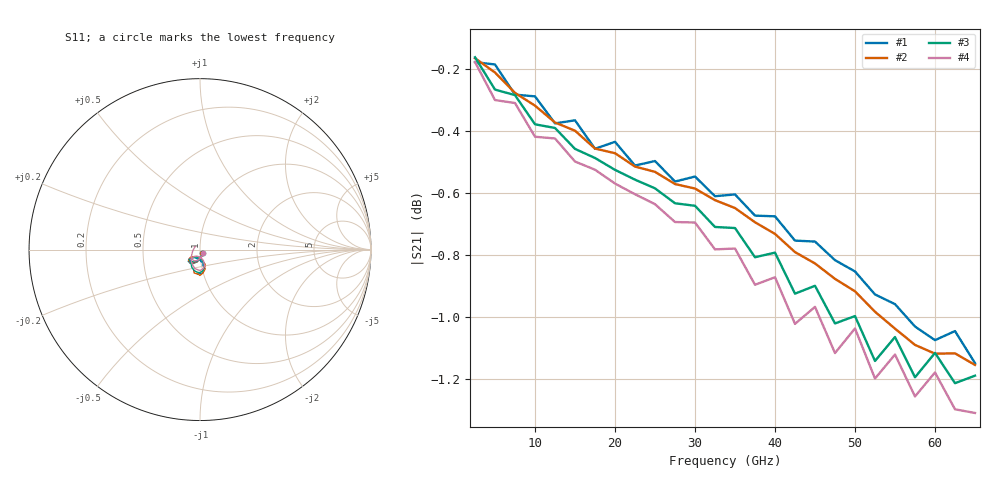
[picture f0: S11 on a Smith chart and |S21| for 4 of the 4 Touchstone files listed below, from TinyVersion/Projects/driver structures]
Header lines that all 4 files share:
! File created by SignalIntegrity v1.5.1: Signal and Power Integrity Tools
! https://github.com/Nubis-Communications/SignalIntegrity
# MHz S MA R 50.0
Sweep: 2.5 GHz to 65 GHz
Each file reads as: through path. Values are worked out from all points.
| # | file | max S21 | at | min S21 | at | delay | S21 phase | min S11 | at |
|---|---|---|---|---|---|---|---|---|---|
| 1 | Thru_lane_4.s2p | -0.18 dB | 2.5 GHz | -1.1 dB | 65 GHz | 6.94 ps | -90 deg at 35 GHz | -32.9 dB | 2.5 GHz |
| 2 | Thru_lane_5.s2p | -0.17 dB | 2.5 GHz | -1.2 dB | 65 GHz | 7.35 ps | -95 deg at 35 GHz | -32.8 dB | 2.5 GHz |
| 3 | Thru_lane_6.s2p | -0.16 dB | 2.5 GHz | -1.2 dB | 62.5 GHz | 8.12 ps | -105 deg at 35 GHz | -32.4 dB | 2.5 GHz |
| 4 | Thru_lane_7.s2p | -0.18 dB | 2.5 GHz | -1.3 dB | 65 GHz | 8.92 ps | -115 deg at 35 GHz | -32.1 dB | 2.5 GHz |
